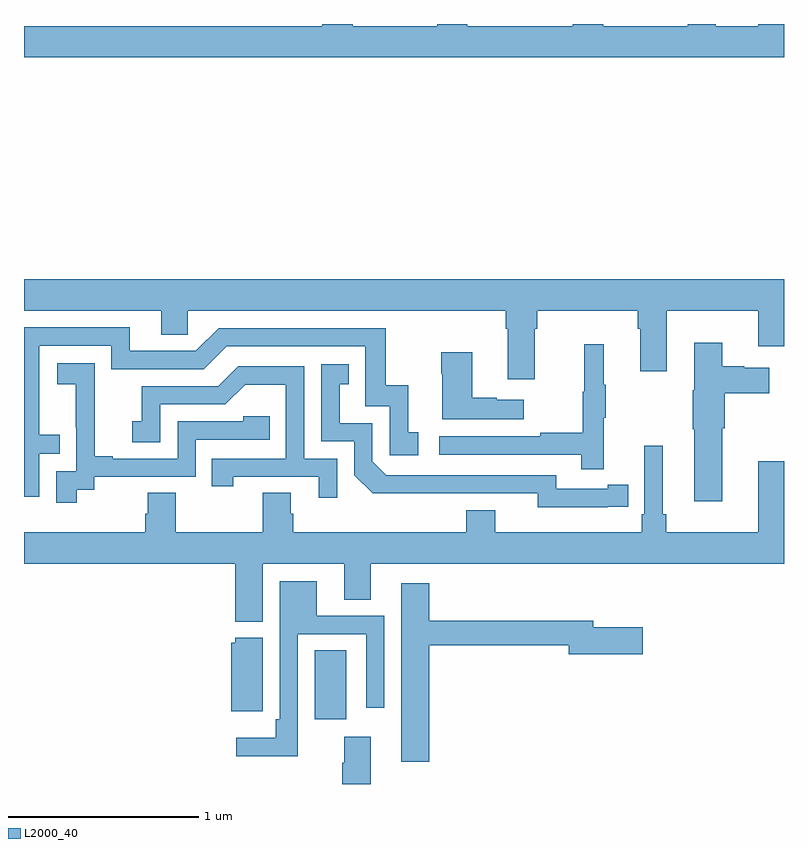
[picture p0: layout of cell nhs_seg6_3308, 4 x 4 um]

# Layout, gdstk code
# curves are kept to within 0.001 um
import gdstk
lib = gdstk.Library(unit=1e-6, precision=1e-09)
def R(c, l, rs):  # rectangles x0, y0, x1, y1
    for r in rs: c.add(gdstk.rectangle(r[:2], r[2:], *l))
def P(c, l, *ps):  # polygons
    for p in ps: c.add(gdstk.Polygon(p, *l))
L2000_40 = (2000, 40)

nhs_seg6_3308 = lib.new_cell('nhs_seg6_3308')
R(nhs_seg6_3308, L2000_40, [(306.53,955.842,306.697,956.204)])
P(nhs_seg6_3308, L2000_40, [(309,959.5),(308.864,959.5),(308.864,959.488),(308.641,959.488),(308.641,959.5),(308.494,959.5),(308.494,959.488),(308.049,959.488),(308.049,959.5),(307.889,959.5),(307.889,959.488),(307.334,959.488),(307.334,959.5),(307.174,959.5),(307.174,959.488),(306.729,959.488),(306.729,959.5),(306.569,959.5),(306.569,959.488),(305,959.488),(305,959.324),(309,959.324)],
  [(307.687,957.896),(307.7,957.896),(307.7,957.992),(308.231,957.992),(308.231,957.896),(308.243,957.896),(308.243,957.672),(308.383,957.672),(308.383,957.992),(308.864,957.992),(308.864,957.804),(309,957.804),(309,958.156),(305,958.156),(305,957.992),(305.723,957.992),(305.723,957.865),(305.862,957.865),(305.862,957.992),(307.535,957.992),(307.535,957.896),(307.547,957.896),(307.547,957.63),(307.687,957.63)],
  [(305.079,957.237),(305.189,957.237),(305.189,957.338),(305.079,957.338),(305.079,957.807),(305.46,957.807),(305.46,957.684),(305.946,957.684),(306.066,957.804),(306.795,957.804),(306.795,957.489),(306.924,957.489),(306.924,957.231),(307.075,957.231),(307.075,957.351),(307.022,957.351),(307.022,957.598),(306.904,957.598),(306.904,957.9),(306.024,957.9),(305.904,957.78),(305.557,957.78),(305.557,957.903),(305,957.903),(305,957.012),(305.079,957.012)],
  [(308.674,957.373),(308.687,957.373),(308.687,957.557),(308.923,957.557),(308.923,957.691),(308.79,957.691),(308.79,957.699),(308.674,957.699),(308.674,957.823),(308.528,957.823),(308.528,957.573),(308.521,957.573),(308.521,957.367),(308.528,957.367),(308.528,956.988),(308.674,956.988)],
  [(308.051,957.427),(308.062,957.427),(308.062,957.601),(308.051,957.601),(308.051,957.814),(307.948,957.814),(307.948,957.564),(307.941,957.564),(307.941,957.35),(307.717,957.35),(307.717,957.33),(307.185,957.33),(307.185,957.234),(307.933,957.234),(307.933,957.156),(308.051,957.156)],
  [(307.63,957.523),(307.487,957.523),(307.487,957.533),(307.36,957.533),(307.36,957.772),(307.195,957.772),(307.195,957.659),(307.202,957.659),(307.202,957.419),(307.63,957.419)],
  [(305.278,957.049),(305.37,957.049),(305.37,957.117),(305.904,957.117),(305.904,957.312),(306.293,957.312),(306.293,957.435),(306.153,957.435),(306.153,957.408),(305.808,957.408),(305.808,957.213),(305.467,957.213),(305.467,957.226),(305.372,957.226),(305.372,957.509),(305.373,957.509),(305.373,957.715),(305.175,957.715),(305.175,957.605),(305.273,957.605),(305.273,957.377),(305.274,957.377),(305.274,957.147),(305.169,957.147),(305.169,956.979),(305.278,956.979)],
  [(308.072,956.958),(308.18,956.958),(308.18,957.074),(308.072,957.074),(308.072,957.054),(307.8,957.054),(307.8,957.126),(306.906,957.126),(306.834,957.198),(306.834,957.399),(306.661,957.399),(306.661,957.603),(306.71,957.603),(306.71,957.709),(306.564,957.709),(306.564,957.303),(306.738,957.303),(306.738,957.126),(306.836,957.029),(307.704,957.03),(307.704,956.957)],
  [(306.648,957.213),(306.474,957.213),(306.474,957.699),(306.128,957.699),(306.023,957.594),(305.62,957.594),(305.62,957.409),(305.571,957.409),(305.571,957.3),(305.718,957.3),(305.718,957.498),(306.06,957.498),(306.164,957.602),(306.378,957.602),(306.378,957.213),(305.989,957.213),(305.989,957.066),(306.1,957.066),(306.1,957.117),(306.551,957.117),(306.551,957.006),(306.648,957.006)],
  [(306.256,956.66),(306.686,956.66),(306.686,956.47),(306.826,956.47),(306.826,956.66),(309,956.66),(309,957.199),(308.864,957.199),(308.864,956.824),(308.381,956.824),(308.381,956.92),(308.362,956.92),(308.362,957.28),(308.265,957.28),(308.265,956.92),(308.252,956.92),(308.252,956.824),(307.48,956.824),(307.48,956.941),(307.328,956.941),(307.328,956.824),(306.416,956.824),(306.416,956.922),(306.403,956.922),(306.403,957.032),(306.256,957.032),(306.256,956.824),(305.799,956.824),(305.799,957.032),(305.651,957.032),(305.651,956.922),(305.639,956.922),(305.639,956.824),(305,956.824),(305,956.66),(306.113,956.66),(306.113,956.354),(306.256,956.354)],
  [(306.441,956.289),(306.801,956.289),(306.801,955.902),(306.897,955.902),(306.897,956.385),(306.541,956.385),(306.541,956.566),(306.345,956.566),(306.345,955.84),(306.325,955.84),(306.325,955.744),(306.117,955.744),(306.117,955.646),(306.441,955.646)],
  [(307.133,956.23),(307.868,956.23),(307.868,956.183),(308.257,956.183),(308.257,956.325),(307.996,956.325),(307.996,956.359),(307.133,956.359),(307.133,956.557),(306.986,956.557),(306.986,955.617),(307.133,955.617)],
  [(306.256,956.269),(306.111,956.269),(306.111,956.244),(306.092,956.244),(306.092,955.883),(306.256,955.883)],
  [(306.826,955.75),(306.686,955.75),(306.686,955.613),(306.674,955.613),(306.674,955.5),(306.826,955.5)])

lib.write_gds('nhs_seg6_3308.gds')
